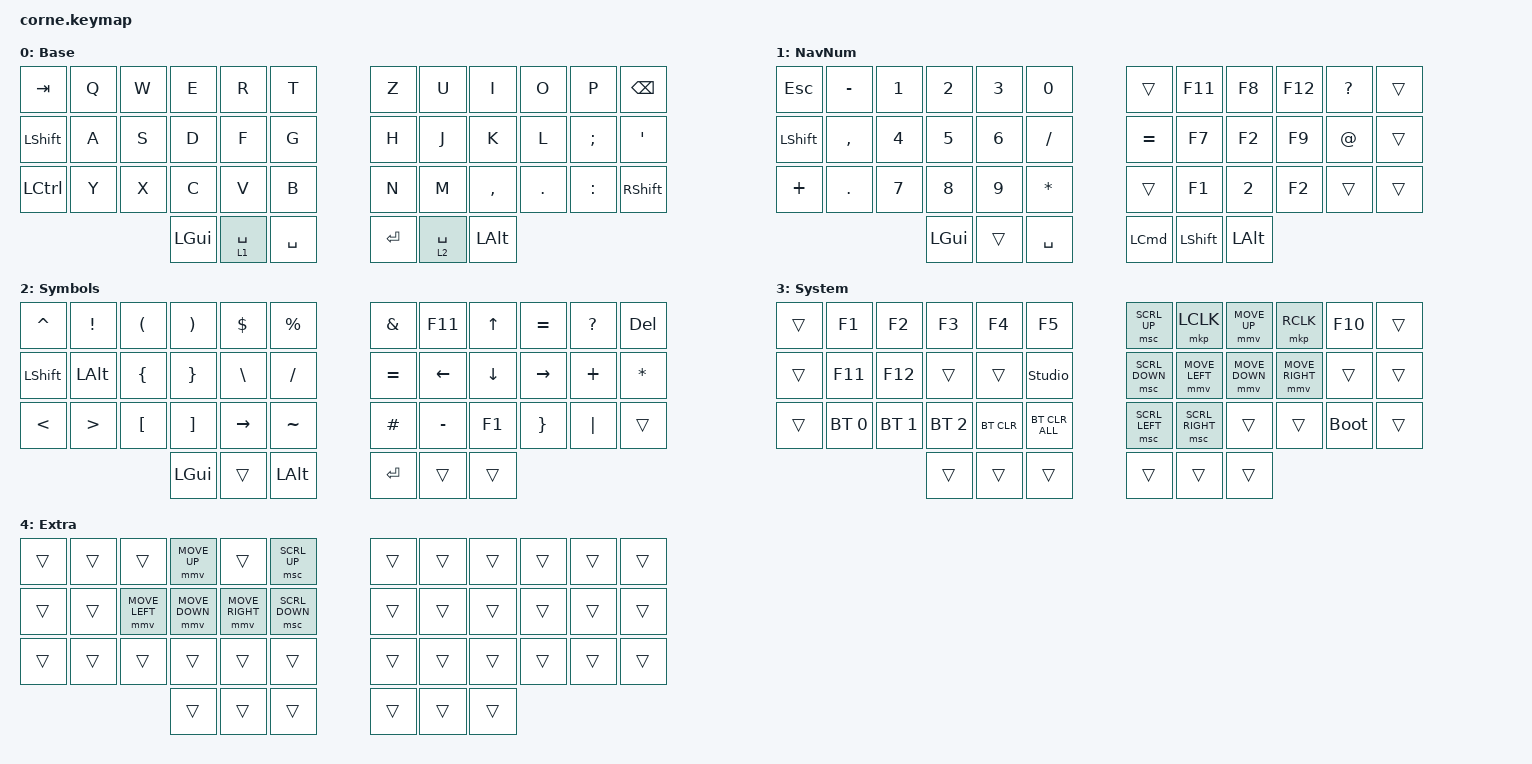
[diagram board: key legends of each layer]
#include <behaviors.dtsi>
#include <dt-bindings/zmk/bt.h>
#include <dt-bindings/zmk/keys.h>
#include <dt-bindings/zmk/pointing.h>

#define DEF 0
#define NAV 1
#define SYM 2
#define ADJ 3
#define EXTRA 4

/ {
    behaviors {
        hm: homerow_mods {
            compatible = "zmk,behavior-hold-tap";
            label = "HOMEROW_MODS";
            #binding-cells = <2>;
            tapping-term-ms = <200>;
            quick_tap_ms = <0>;
            flavor = "tap-preferred";
            bindings = <&kp>, <&kp>;

            quick-tap-ms = <180>;
            global-quick-tap;
        };

        para: para {
            compatible = "zmk,behavior-tap-dance";
            label = "PARA";
            #binding-cells = <0>;
            bindings = <&kp LEFT_PARENTHESIS>, <&kp RIGHT_PARENTHESIS>;
        };

        caps: caps {
            compatible = "zmk,behavior-caps-word";
            label = "CAPS";
            #binding-cells = <0>;
            continue-list = <MINUS BACKSPACE>;
        };

        paraless: paraless {
            compatible = "zmk,behavior-mod-morph";
            label = "PARALESS";
            bindings = <&kp LEFT_PARENTHESIS>, <&kp LESS_THAN>;

            #binding-cells = <0>;
            mods = <(MOD_LSFT)>;
        };

        paragreat: paragreat {
            compatible = "zmk,behavior-mod-morph";
            label = "PARAGREAT";
            bindings = <&kp RIGHT_PARENTHESIS>, <&kp GREATER_THAN>;

            #binding-cells = <0>;
            mods = <(MOD_LSFT)>;
        };

        hort: hort {
            compatible = "zmk,behavior-hold-tap";
            label = "HORT";
            bindings = <&mo>, <&kp>;

            #binding-cells = <2>;
            tapping-term-ms = <200>;
            quick-tap-ms = <(-1)>;
        };
    };

    macros {
        browsertab: browsertab {
            compatible = "zmk,behavior-macro";
            #binding-cells = <0>;
            bindings =
                <&macro_press>,
                <&kp LCTRL>,
                <&macro_tap>,
                <&kp TAB>,
                <&macro_release>,
                <&kp LCTRL>;
        };
    };

    combos {
        compatible = "zmk,combos";

        escape {
            bindings = <&kp ESCAPE>;
            key-positions = <13 29>;
        };

        delete {
            bindings = <&kp DELETE>;
            key-positions = <15 21>;
        };

        perc {
            bindings = <&kp PERCENT>;
            key-positions = <5 17>;
        };

        equal {
            bindings = <&kp EQUAL>;
            key-positions = <28 16>;
        };

        dollar {
            bindings = <&kp DOLLAR>;
            key-positions = <4 16>;
        };

        pound {
            bindings = <&kp POUND>;
            key-positions = <3 15>;
        };

        at {
            bindings = <&kp AT>;
            key-positions = <2 14>;
        };

        backslash {
            bindings = <&kp BACKSLASH>;
            key-positions = <26 14>;
        };

        copy {
            bindings = <&kp K_COPY>;
            key-positions = <28 27>;
        };

        paste {
            bindings = <&kp K_PASTE>;
            key-positions = <26 27>;
        };

        star {
            bindings = <&kp STAR>;
            key-positions = <8 20>;
        };

        slash {
            bindings = <&kp SLASH>;
            key-positions = <32 20>;
        };

        plus {
            bindings = <&kp PLUS>;
            key-positions = <7 19>;
        };

        minus {
            bindings = <&kp KP_MINUS>;
            key-positions = <31 19>;
        };

        underscore {
            bindings = <&kp UNDER>;
            key-positions = <30 18>;
        };

        leftbrack {
            bindings = <&kp LEFT_BRACKET>;
            key-positions = <31 32>;
        };

        rightbrack {
            bindings = <&kp RIGHT_BRACKET>;
            key-positions = <33 32>;
        };

        para-less {
            bindings = <&paraless>;
            key-positions = <20 19>;
        };

        para-great {
            bindings = <&paragreat>;
            key-positions = <20 21>;
        };

        quotation-marks {
            bindings = <&kp DOUBLE_QUOTES>;
            key-positions = <2 3>;
        };
    };

    //

    keymap {
        compatible = "zmk,keymap";

        DEF {
            display-name = "Base";

            // -----------------------------------------------------------------------------------------
            // |  Q  |  W  |  E  |  R  |  T  |   |  Y  |  U   |  I  |  O  |  P  |
            // |  A  |  S  |  D  |  F  |  G  |   |  H  |  J   |  K  |  L  |  ;  |
            // |  Z  |  X  |  C  |  V  |  B  |   |  N  |  M   |  ,  |  .  |  /  |
            // | GUI | CTRL | SHFT | LWR | SPC |   | ENT | RSE  | BKSP | ALT | ESC |

            bindings = <
&kp TAB    &kp Q  &kp W  &kp E     &kp R          &kp T        &kp Z      &kp U          &kp I         &kp O    &kp P      &kp BACKSPACE
&kp LSHFT  &kp A  &kp S  &kp D     &kp F          &kp G        &kp H      &kp J          &kp K         &kp L    &kp SEMI   &kp SQT
&kp LCTRL  &kp Y  &kp X  &kp C     &kp V          &kp B        &kp N      &kp M          &kp COMMA     &kp DOT  &kp COLON  &kp RSHFT
                         &kp LGUI  &hort 1 SPACE  &kp SPACE    &kp ENTER  &hort 2 SPACE  &kp LEFT_ALT
            >;
        };

        NAV {
            display-name = "NavNum";

            // -----------------------------------------------------------------------------------------
            // |  TAB |  1  |  2  |  3  |  4  |  5  |   |  6  |  7  |  8  |  9  |  0  | BKSP |
            // | BTCLR| BT1 | BT2 | BT3 | BT4 | BT5 |   | LFT | DWN |  UP | RGT |     |      |
            // | SHFT |     |     |     |     |     |   |     |     |     |     |     |      |
            // | GUI | CTRL | SHFT | LWR | SPC |   | ENT | RSE  | BKSP | ALT | ESC |

            bindings = <
&kp ESCAPE      &kp MINUS   &kp NUMBER_1  &kp NUMBER_2  &kp NUMBER_3  &kp NUMBER_0    &trans            &kp F11         &kp F8        &kp F12  &kp QUESTION  &trans
&kp LEFT_SHIFT  &kp COMMA   &kp NUMBER_4  &kp NUMBER_5  &kp NUMBER_6  &kp SLASH       &kp EQUAL         &kp F7          &kp F2        &kp F9   &kp AT        &trans
&kp PLUS        &kp PERIOD  &kp NUMBER_7  &kp NUMBER_8  &kp NUMBER_9  &kp ASTRK       &trans            &kp F1          &kp N2        &kp F2   &trans        &trans
                                          &kp LGUI      &trans        &kp SPACE       &kp LEFT_COMMAND  &kp LEFT_SHIFT  &kp LEFT_ALT
            >;
        };

        SYM {
            display-name = "Symbols";

            // -----------------------------------------------------------------------------------------
            // |  TAB |  !  |  @  |  #  |  $  |  %  |   |  ^  |  &  |  *  |  (  |  )  | BKSP |
            // | CTRL |     |     |     |     |     |   |  -  |  =  |  [  |  ]  |  \  |  `   |
            // | SHFT |     |     |     |     |     |   |  _  |  +  |  {  |  }  | "|" |  ~   |
            //                    | GUI |     | SPC |   | ENT |     | ALT |

            bindings = <
&kp CARET       &kp EXCL      &kp LEFT_PARENTHESIS  &kp RIGHT_PARENTHESIS  &kp DLLR         &kp PRCNT       &kp AMPS   &kp F11    &kp UP_ARROW  &kp EQUAL  &kp QUESTION  &kp DELETE
&kp LEFT_SHIFT  &kp LEFT_ALT  &kp LEFT_BRACE        &kp RIGHT_BRACE        &kp BACKSLASH    &kp SLASH       &kp EQUAL  &kp LEFT   &kp DOWN      &kp RIGHT  &kp PLUS      &kp ASTRK
&kp LESS_THAN   &kp GT        &kp LEFT_BRACKET      &kp RIGHT_BRACKET      &kp RIGHT_ARROW  &kp TILDE       &kp POUND  &kp MINUS  &kp F1        &kp RBRC   &kp PIPE      &trans
                                                    &kp LGUI               &trans           &kp LEFT_ALT    &kp RET    &trans     &trans
            >;
        };

        ADJ {
            display-name = "System";
            bindings = <
&trans  &kp F1        &kp F2        &kp F3        &kp F4      &kp F5            &msc SCRL_UP    &mkp LCLK        &mmv MOVE_UP    &mkp RCLK        &kp F10      &trans
&trans  &kp F11       &kp F12       &trans        &trans      &studio_unlock    &msc SCRL_DOWN  &mmv MOVE_LEFT   &mmv MOVE_DOWN  &mmv MOVE_RIGHT  &trans       &trans
&trans  &bt BT_SEL 0  &bt BT_SEL 1  &bt BT_SEL 2  &bt BT_CLR  &bt BT_CLR_ALL    &msc SCRL_LEFT  &msc SCRL_RIGHT  &trans          &trans           &bootloader  &trans
                                    &trans        &trans      &trans            &trans          &trans           &trans
            >;
        };

        EXTRA {
            display-name = "Extra";
            bindings = <
&trans  &trans  &trans          &mmv MOVE_UP    &trans           &msc SCRL_UP      &trans  &trans  &trans  &trans  &trans  &trans
&trans  &trans  &mmv MOVE_LEFT  &mmv MOVE_DOWN  &mmv MOVE_RIGHT  &msc SCRL_DOWN    &trans  &trans  &trans  &trans  &trans  &trans
&trans  &trans  &trans          &trans          &trans           &trans            &trans  &trans  &trans  &trans  &trans  &trans
                                &trans          &trans           &trans            &trans  &trans  &trans
            >;
        };
    };

    conditional_layers {
        compatible = "zmk,conditional-layers";

        l3 {
            if-layers = <1 2>;
            then-layer = <3>;
        };
    };
};
